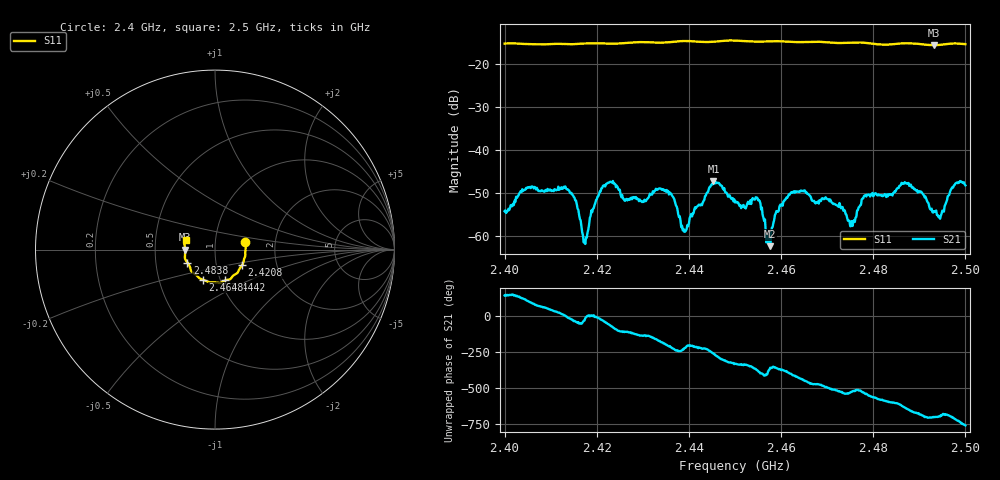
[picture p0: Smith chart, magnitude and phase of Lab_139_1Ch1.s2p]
# Hz S RI R 50
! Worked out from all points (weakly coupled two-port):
!   601 points, 2.4 GHz to 2.5 GHz, reference 50 ohm
!   highest |S21| = -47.12 dB at 2.4453 GHz (marker M1); lowest = -62.3 dB at 2.4577 GHz (marker M2)
!   lowest |S11| = -15.6 dB at 2.4932 GHz (marker M3), VSWR 1.40, Z = 35.8 - j0.0736 ohm
!   |S11| at or under -10 dB: start of sweep to end of sweep
!   S12 and S22 are empty: the file has one direction only
!   S11 on the Smith chart (normalised r, x): 2.4 GHz: 1.40, +0.12; 2.4208 GHz: 1.33, -0.24; 2.4442 GHz: 1.05, -0.37; 2.4648 GHz: 0.83, -0.29; 2.4838 GHz: 0.73, -0.11; 2.5 GHz: 0.72, +0.08
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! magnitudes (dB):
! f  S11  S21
! 2.4 GHz  -15.3  -54.2
! 2.4128 GHz  -15.3  -48.5
! 2.4167 GHz  -15.2  -57.7
! 2.4177 GHz  -15.2  -60.3
! 2.4208 GHz  -15.2  -49.6
! 2.4333 GHz  -15.0  -49.0
! 2.439 GHz  -14.6  -59.0
! 2.4442 GHz  -14.9  -49.7
! 2.4453 GHz  -14.8  -47.1
! 2.45 GHz  -14.5  -52.1
! 2.455 GHz  -14.8  -51.6
! 2.4577 GHz  -14.7  -62.3
! 2.4602 GHz  -14.7  -52.5
! 2.4648 GHz  -14.9  -49.5
! 2.4667 GHz  -14.8  -51.7
! 2.4755 GHz  -15.0  -57.6
! 2.4782 GHz  -15.0  -50.5
! 2.4833 GHz  -15.5  -50.2
! 2.4838 GHz  -15.4  -50.3
! 2.4872 GHz  -15.2  -47.7
! 2.4932 GHz  -15.6  -54.2
! 2.5 GHz  -15.4  -48.2
